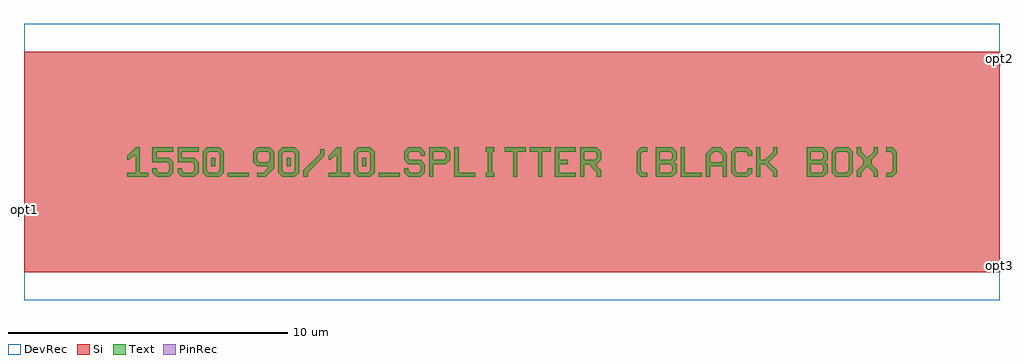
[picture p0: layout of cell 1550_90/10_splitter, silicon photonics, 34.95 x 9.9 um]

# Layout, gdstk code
import gdstk
lib = gdstk.Library(unit=1e-6, precision=1e-09)
def R(c, l, rs):  # rectangles x0, y0, x1, y1
    for r in rs: c.add(gdstk.rectangle(r[:2], r[2:], *l))
def A(c, l, x, y, w, h, nx, ny, dx, dy):  # array of equal rectangles
    R(c, l, [(x+i*dx, y+j*dy, x+i*dx+w, y+j*dy+h) for i in range(nx) for j in range(ny)])
def P(c, l, *ps):  # polygons
    for p in ps: c.add(gdstk.Polygon(p, *l))
Si = (1, 0)
PinRec = (1, 10)
Text = (10, 0)
DevRec = (68, 0)

text = lib.new_cell('TEXT')
A(text, Text, 3.003, 0.376, 0.151, 0.3, 3, 1, 2.703, 0)
R(text, Text, [(3.604,0,4.355,0.15), (9.01,0,9.761,0.15)])
P(text, Text, [(0,0),(0,0.15),(0.3,0.15),(0.3,0.751),(0.225,0.751),(0.075,0.601),(0,0.601),(0,0.751),(0.3,1.052),(0.451,1.052),(0.451,0.15),(0.751,0.15),(0.751,0)],
  [(1.051,0),(0.901,0.15),(0.901,0.3),(1.051,0.3),(1.051,0.225),(1.126,0.15),(1.427,0.15),(1.502,0.225),(1.502,0.451),(1.427,0.526),(0.901,0.526),(0.901,1.052),(1.652,1.052),(1.652,0.901),(1.051,0.901),(1.051,0.676),(1.502,0.676),(1.652,0.526),(1.652,0.15),(1.502,0)],
  [(1.952,0),(1.802,0.15),(1.802,0.3),(1.952,0.3),(1.952,0.225),(2.027,0.15),(2.328,0.15),(2.403,0.225),(2.403,0.451),(2.328,0.526),(1.802,0.526),(1.802,1.052),(2.553,1.052),(2.553,0.901),(1.952,0.901),(1.952,0.676),(2.403,0.676),(2.553,0.526),(2.553,0.15),(2.403,0)],
  [(2.853,0),(2.703,0.15),(2.703,0.901),(2.853,1.052),(3.304,1.052),(3.454,0.901),(2.928,0.901),(2.853,0.826),(2.853,0.225),(2.928,0.15),(3.229,0.15),(3.304,0.225),(3.304,0.826),(3.229,0.901),(3.454,0.901),(3.454,0.15),(3.304,0)],
  [(4.655,0),(4.655,0.15),(4.881,0.15),(5.031,0.3),(5.031,0.376),(4.655,0.376),(4.505,0.526),(5.031,0.526),(5.106,0.601),(5.106,0.826),(5.031,0.901),(4.73,0.901),(4.655,0.826),(4.655,0.601),(4.73,0.526),(4.505,0.526),(4.505,0.901),(4.655,1.052),(5.106,1.052),(5.256,0.901),(5.256,0.3),(4.956,0)],
  [(5.556,0),(5.406,0.15),(5.406,0.901),(5.556,1.052),(6.007,1.052),(6.157,0.901),(5.631,0.901),(5.556,0.826),(5.556,0.225),(5.631,0.15),(5.932,0.15),(6.007,0.225),(6.007,0.826),(5.932,0.901),(6.157,0.901),(6.157,0.15),(6.007,0)],
  [(6.307,0),(6.307,0.225),(6.908,0.826),(6.908,0.977),(7.058,0.977),(7.058,0.751),(6.457,0.15),(6.457,0)],
  [(7.208,0),(7.208,0.15),(7.508,0.15),(7.508,0.751),(7.433,0.751),(7.283,0.601),(7.208,0.601),(7.208,0.751),(7.508,1.052),(7.659,1.052),(7.659,0.15),(7.959,0.15),(7.959,0)],
  [(8.259,0),(8.109,0.15),(8.109,0.901),(8.259,1.052),(8.71,1.052),(8.86,0.901),(8.334,0.901),(8.259,0.826),(8.259,0.225),(8.334,0.15),(8.635,0.15),(8.71,0.225),(8.71,0.826),(8.635,0.901),(8.86,0.901),(8.86,0.15),(8.71,0)],
  [(10.061,0),(9.911,0.15),(9.911,0.3),(10.061,0.3),(10.061,0.225),(10.136,0.15),(10.437,0.15),(10.512,0.225),(10.512,0.376),(10.437,0.451),(10.061,0.451),(9.911,0.601),(9.911,0.901),(10.061,1.052),(10.512,1.052),(10.662,0.901),(10.662,0.751),(10.512,0.751),(10.512,0.826),(10.437,0.901),(10.136,0.901),(10.061,0.826),(10.061,0.676),(10.136,0.601),(10.512,0.601),(10.662,0.451),(10.662,0.15),(10.512,0)],
  [(10.812,0),(10.812,1.052),(11.413,1.052),(11.563,0.901),(11.563,0.601),(11.413,0.451),(10.962,0.451),(10.962,0.601),(11.338,0.601),(11.413,0.676),(11.413,0.826),(11.338,0.901),(10.962,0.901),(10.962,0)],
  [(11.713,0),(11.713,1.052),(11.863,1.052),(11.863,0.15),(12.464,0.15),(12.464,0)],
  [(12.839,0),(12.839,0.15),(12.914,0.15),(12.914,0.901),(12.839,0.901),(12.839,1.052),(13.14,1.052),(13.14,0.901),(13.065,0.901),(13.065,0.15),(13.14,0.15),(13.14,0)],
  [(13.815,0),(13.815,0.901),(13.515,0.901),(13.515,1.052),(14.266,1.052),(14.266,0.901),(13.966,0.901),(13.966,0)],
  [(14.716,0),(14.716,0.901),(14.416,0.901),(14.416,1.052),(15.167,1.052),(15.167,0.901),(14.867,0.901),(14.867,0)],
  [(15.317,0),(15.317,1.052),(16.068,1.052),(16.068,0.901),(15.467,0.901),(15.467,0.601),(15.768,0.601),(15.768,0.451),(15.467,0.451),(15.467,0.15),(16.068,0.15),(16.068,0)],
  [(16.218,0),(16.218,1.052),(16.819,1.052),(16.969,0.901),(16.368,0.901),(16.368,0.601),(16.744,0.601),(16.819,0.676),(16.819,0.826),(16.744,0.901),(16.969,0.901),(16.969,0.601),(16.819,0.451),(16.819,0.376),(16.969,0.225),(16.969,0),(16.819,0),(16.819,0.15),(16.518,0.451),(16.368,0.451),(16.368,0)],
  [(18.396,0),(18.245,0.15),(18.245,0.901),(18.396,1.052),(18.621,1.052),(18.621,0.901),(18.471,0.901),(18.396,0.826),(18.396,0.225),(18.471,0.15),(18.621,0.15),(18.621,0)],
  [(18.921,0),(18.921,1.052),(19.522,1.052),(19.672,0.901),(19.071,0.901),(19.071,0.601),(19.447,0.601),(19.522,0.676),(19.522,0.826),(19.447,0.901),(19.672,0.901),(19.672,0.601),(19.597,0.526),(19.672,0.451),(19.071,0.451),(19.071,0.15),(19.447,0.15),(19.522,0.225),(19.522,0.376),(19.447,0.451),(19.672,0.451),(19.672,0.15),(19.522,0)],
  [(19.822,0),(19.822,1.052),(19.972,1.052),(19.972,0.15),(20.573,0.15),(20.573,0)],
  [(20.723,0),(20.723,0.826),(20.948,1.052),(21.249,1.052),(21.399,0.901),(21.023,0.901),(20.873,0.751),(20.873,0.526),(21.324,0.526),(21.324,0.751),(21.174,0.901),(21.399,0.901),(21.474,0.826),(21.474,0),(21.324,0),(21.324,0.376),(20.873,0.376),(20.873,0)],
  [(21.774,0),(21.624,0.15),(21.624,0.901),(21.774,1.052),(22.225,1.052),(22.375,0.901),(22.375,0.751),(22.225,0.751),(22.225,0.826),(22.15,0.901),(21.849,0.901),(21.774,0.826),(21.774,0.225),(21.849,0.15),(22.15,0.15),(22.225,0.225),(22.225,0.3),(22.375,0.3),(22.375,0.15),(22.225,0)],
  [(22.525,0),(22.525,1.052),(22.675,1.052),(22.675,0.601),(22.825,0.601),(23.126,0.901),(23.126,1.052),(23.276,1.052),(23.276,0.826),(22.976,0.526),(23.276,0.225),(23.276,0),(23.126,0),(23.126,0.15),(22.825,0.451),(22.675,0.451),(22.675,0)],
  [(24.327,0),(24.327,1.052),(24.928,1.052),(25.078,0.901),(24.477,0.901),(24.477,0.601),(24.853,0.601),(24.928,0.676),(24.928,0.826),(24.853,0.901),(25.078,0.901),(25.078,0.601),(25.003,0.526),(25.078,0.451),(24.477,0.451),(24.477,0.15),(24.853,0.15),(24.928,0.225),(24.928,0.376),(24.853,0.451),(25.078,0.451),(25.078,0.15),(24.928,0)],
  [(25.378,0),(25.228,0.15),(25.228,0.901),(25.378,1.052),(25.829,1.052),(25.979,0.901),(25.979,0.526),(25.829,0.526),(25.829,0.826),(25.754,0.901),(25.453,0.901),(25.378,0.826),(25.378,0.225),(25.453,0.15),(25.754,0.15),(25.829,0.225),(25.829,0.526),(25.979,0.526),(25.979,0.15),(25.829,0)],
  [(26.129,0),(26.129,0.225),(26.354,0.451),(26.354,0.601),(26.129,0.826),(26.129,1.052),(26.279,1.052),(26.279,0.901),(26.505,0.676),(26.73,0.901),(26.73,1.052),(26.88,1.052),(26.88,0.826),(26.655,0.601),(26.655,0.451),(26.88,0.225),(26.88,0),(26.73,0),(26.73,0.15),(26.505,0.376),(26.279,0.15),(26.279,0)],
  [(27.18,0),(27.18,0.15),(27.33,0.15),(27.406,0.225),(27.406,0.826),(27.33,0.901),(27.18,0.901),(27.18,1.052),(27.406,1.052),(27.556,0.901),(27.556,0.15),(27.406,0)])

c_1550_90_10_splitter = lib.new_cell('1550_90/10_splitter')
R(c_1550_90_10_splitter, Si, [(-17.465,-3.949,17.465,3.95)])
R(c_1550_90_10_splitter, DevRec, [(-17.465,-4.949,17.465,4.95)])
c_1550_90_10_splitter.add(gdstk.FlexPath([(-17.455,-1.686),(-17.475,-1.686)], 0.5, ends="flush", simple_path=True, layer=1, datatype=10))  # PinRec
c_1550_90_10_splitter.add(gdstk.FlexPath([(17.455,3.7),(17.475,3.7)], 0.5, ends="flush", simple_path=True, layer=1, datatype=10))  # PinRec
c_1550_90_10_splitter.add(gdstk.FlexPath([(17.455,-3.699),(17.475,-3.699)], 0.5, ends="flush", simple_path=True, layer=1, datatype=10))  # PinRec
c_1550_90_10_splitter.add(gdstk.Reference(text, (-13.778,-0.526)))
c_1550_90_10_splitter.add(gdstk.Label('opt1', (-17.465,-1.686), layer=1, texttype=10))
c_1550_90_10_splitter.add(gdstk.Label('opt2', (17.465,3.7), layer=1, texttype=10))
c_1550_90_10_splitter.add(gdstk.Label('opt3', (17.465,-3.699), layer=1, texttype=10))

lib.write_gds('1550_90_10_splitter.gds')
